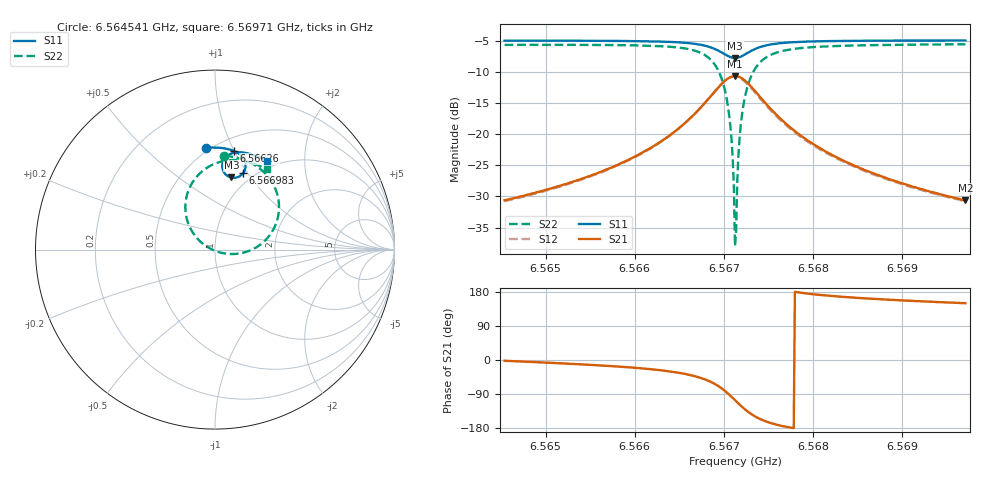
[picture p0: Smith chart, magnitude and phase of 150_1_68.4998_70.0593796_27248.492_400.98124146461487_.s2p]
#  HZ  S  RI  R  50.00
! Rohde & Schwarz Vector Network Analyzer
! Rohde-Schwarz,ZNB20-2Port,1311601062101988,3.16
! Created: UTC 3/20/2024, 5:10:23 PM
! freq[Hz]  re:S11  im:S11  re:S21  im:S21  re:S12  im:S12  re:S22  im:S22
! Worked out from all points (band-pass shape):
!   401 points, 6.564541 GHz to 6.56971 GHz, reference 50 ohm
!   highest |S21| = -10.60 dB at 6.567125 GHz (marker M1); lowest = -30.6 dB at 6.56971 GHz (marker M2)
!   |S21| within 3 dB of the highest: 6.566868 GHz to 6.567385 GHz (516.6 kHz wide, 0.00787 % of centre)
!   lowest |S11| = -7.7 dB at 6.567125 GHz (marker M3), VSWR 2.40, Z = 42 + j40.7 ohm
!   |S11| at or under -10 dB: nowhere
!   |S22| runs from -38.0 to -5.5 dB; largest |S21 - S12| = 0.014
!   S11 on the Smith chart (normalised r, x): 6.564541 GHz: 0.48, +0.80; 6.56626 GHz: 0.62, +1.00; 6.566983 GHz: 0.89, +0.95; 6.56971 GHz: 0.90, +1.32
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6.5645412e9  -0.0487 0.567  0.0295 -0.00104  0.0289 -0.00154  0.0518 0.5231
6.565407e9  0.0229 0.5674  0.0431 -0.00876  0.0424 -0.0094  0.1359 0.508
6.5662598e9  0.1047 0.5499  0.0758 -0.0373  0.0747 -0.0381  0.2539 0.4479
6.5662727e9  0.1062 0.5492  0.0766 -0.0383  0.0755 -0.0391  0.2564 0.446
6.5665699e9  0.1415 0.5275  0.0996 -0.0747  0.0979 -0.0763  0.3186 0.3742
6.5667766e9  0.1657 0.4933  0.1126 -0.1346  0.11 -0.1373  0.3559 0.259
6.5668929e9  0.1701 0.4592  0.1016 -0.1941  0.0965 -0.1979  0.3403 0.1453
6.5669833e9  0.1568 0.4262  0.0616 -0.2508  0.0529 -0.254  0.2673 0.0396
6.5670609e9  0.1263 0.4038  -0.00744 -0.2859  -0.0198 -0.2851  0.1398 -0.0212
6.5670867e9  0.1126 0.4006  -0.0366 -0.2893  -0.0493 -0.2865  0.0873 -0.0247
6.5671126e9  0.0981 0.4005  -0.0665 -0.2872  -0.0793 -0.282  0.0339 -0.0177
6.5671255e9  0.091 0.4017  -0.0814 -0.2837  -0.0938 -0.2775  0.00795 -0.00976
6.5671384e9  0.084 0.4037  -0.0957 -0.2789  -0.1078 -0.2716  -0.017 0.00062
6.5671513e9  0.0773 0.4063  -0.1096 -0.2725  -0.1211 -0.2642  -0.0406 0.0135
6.5671772e9  0.0652 0.414  -0.1345 -0.2564  -0.1445 -0.2464  -0.0824 0.0451
6.5672159e9  0.0511 0.4289  -0.1639 -0.2257  -0.1708 -0.214  -0.1288 0.1032
6.5672676e9  0.0415 0.4518  -0.1862 -0.1804  -0.1893 -0.1683  -0.1605 0.1855
6.5673322e9  0.0412 0.4787  -0.1922 -0.1282  -0.1919 -0.1177  -0.162 0.2771
6.5675648e9  0.079 0.5294  -0.1473 -0.0287  -0.144 -0.0241  -0.0613 0.4447
6.5679912e9  0.1422 0.5424  -0.0841 0.00907  -0.082 0.0105  0.0794 0.4982
6.5688569e9  0.2249 0.5228  -0.0405 0.0157  -0.0398 0.0159  0.2103 0.4816
6.5697097e9  0.2888 0.4923  -0.0254 0.0148  -0.0248 0.015  0.2877 0.4473
